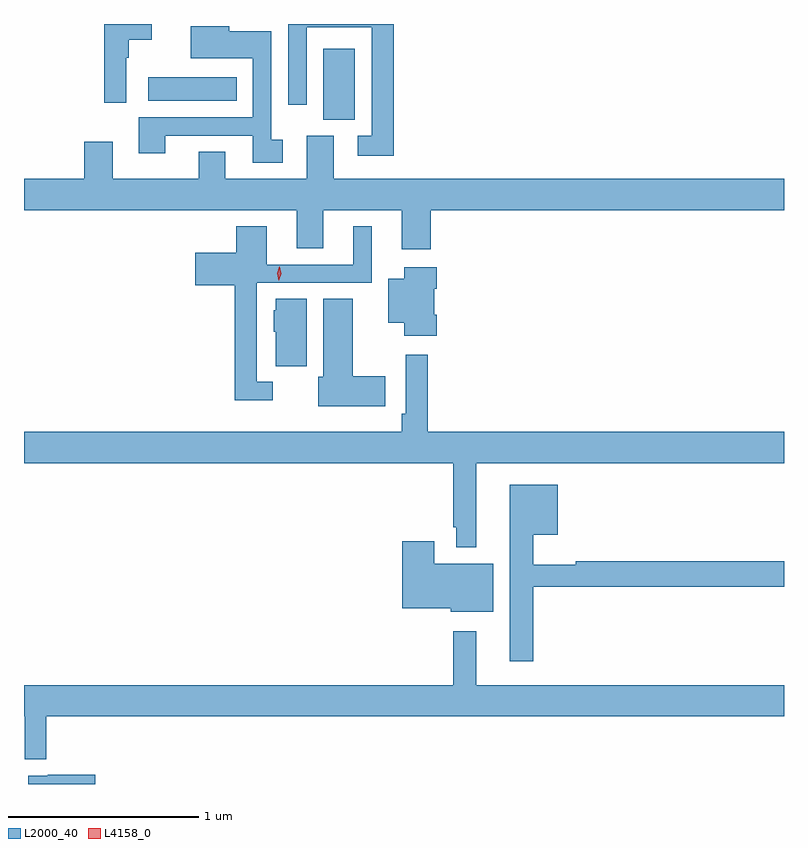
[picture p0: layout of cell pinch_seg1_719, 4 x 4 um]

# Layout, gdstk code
import gdstk
lib = gdstk.Library(unit=1e-6, precision=1e-09)
def R(c, l, rs):  # rectangles x0, y0, x1, y1
    for r in rs: c.add(gdstk.rectangle(r[:2], r[2:], *l))
def P(c, l, *ps):  # polygons
    for p in ps: c.add(gdstk.Polygon(p, *l))
L2000_40 = (2000, 40)
L4158_0 = (4158, 0)

pinch_seg1_719 = lib.new_cell('pinch_seg1_719')
R(pinch_seg1_719, L2000_40, [(745.004,518.908,745.168,519.28), (744.081,519.008,744.548,519.13)])
P(pinch_seg1_719, L2000_40, [(745.373,519.411),(744.819,519.411),(744.819,518.985),(744.915,518.985),(744.915,519.393),(745.257,519.393),(745.257,518.823),(745.185,518.823),(745.185,518.718),(745.373,518.718)],
  [(743.967,519.233),(743.98,519.233),(743.98,519.329),(744.101,519.329),(744.101,519.411),(743.851,519.411),(743.851,518.996),(743.967,518.996)],
  [(744.79,518.802),(744.729,518.802),(744.729,519.372),(744.507,519.372),(744.507,519.4),(744.305,519.4),(744.305,519.23),(744.633,519.23),(744.633,518.919),(744.032,518.919),(744.032,518.73),(744.172,518.73),(744.172,518.823),(744.632,518.823),(744.632,518.682),(744.79,518.682)],
  [(745.568,518.432),(747.428,518.432),(747.428,518.596),(745.057,518.596),(745.057,518.823),(744.917,518.823),(744.917,518.596),(744.487,518.596),(744.487,518.738),(744.347,518.738),(744.347,518.596),(743.896,518.596),(743.896,518.791),(743.744,518.791),(743.744,518.596),(743.428,518.596),(743.428,518.432),(744.863,518.432),(744.863,518.23),(745.003,518.23),(745.003,518.432),(745.415,518.432),(745.415,518.226),(745.568,518.226)],
  [(744.736,517.527),(744.654,517.527),(744.654,518.049),(745.258,518.049),(745.258,518.347),(745.16,518.347),(745.16,518.145),(744.706,518.145),(744.706,518.347),(744.545,518.347),(744.545,518.206),(744.33,518.206),(744.33,518.036),(744.538,518.036),(744.538,517.43),(744.736,517.43)],
  [(745.601,517.882),(745.588,517.882),(745.588,518.018),(745.601,518.018),(745.601,518.131),(745.43,518.131),(745.43,518.071),(745.346,518.071),(745.346,517.838),(745.43,517.838),(745.43,517.77),(745.601,517.77)],
  [(744.916,517.964),(744.752,517.964),(744.752,517.905),(744.743,517.905),(744.743,517.791),(744.752,517.791),(744.752,517.611),(744.916,517.611)],
  [(745.33,517.558),(745.159,517.558),(745.159,517.964),(745.004,517.964),(745.004,517.554),(744.977,517.554),(744.977,517.4),(745.33,517.4)],
  [(745.553,517.669),(745.437,517.669),(745.437,517.36),(745.417,517.36),(745.417,517.264),(743.428,517.264),(743.428,517.1),(745.686,517.1),(745.686,516.763),(745.703,516.763),(745.703,516.656),(745.807,516.656),(745.807,517.1),(747.428,517.1),(747.428,517.264),(745.553,517.264)],
  [(746.107,516.448),(747.428,516.448),(747.428,516.584),(746.332,516.584),(746.332,516.565),(746.107,516.565),(746.107,516.722),(746.236,516.722),(746.236,516.985),(745.985,516.985),(745.985,516.057),(746.107,516.057)],
  [(745.897,516.571),(745.588,516.571),(745.588,516.688),(745.418,516.688),(745.418,516.335),(745.674,516.335),(745.674,516.317),(745.897,516.317)],
  [(743.544,515.768),(747.428,515.768),(747.428,515.932),(745.807,515.932),(745.807,516.214),(745.686,516.214),(745.686,515.932),(743.428,515.932),(743.428,515.768),(743.432,515.768),(743.432,515.54),(743.544,515.54)],
  [(743.803,515.46),(743.554,515.46),(743.554,515.455),(743.45,515.455),(743.45,515.411),(743.803,515.411)])
P(pinch_seg1_719, L4158_0, [(744.769,518.061),(744.769,518.061),(744.761,518.098),(744.772,518.133),(744.773,518.133),(744.773,518.133),(744.781,518.097),(744.769,518.061)])

lib.write_gds('pinch_seg1_719.gds')
